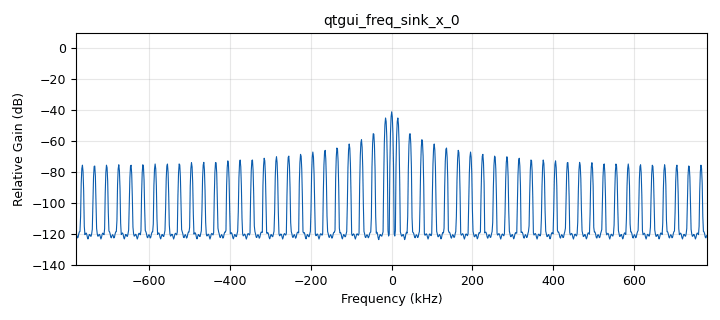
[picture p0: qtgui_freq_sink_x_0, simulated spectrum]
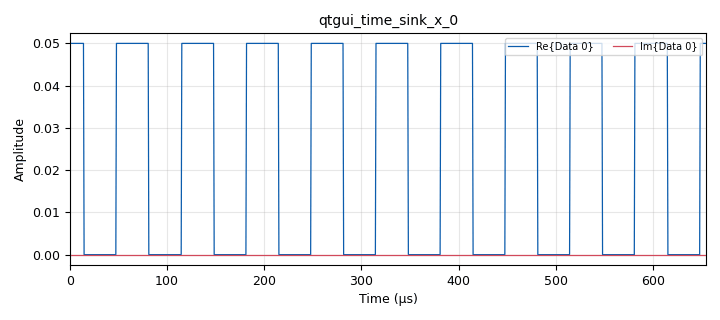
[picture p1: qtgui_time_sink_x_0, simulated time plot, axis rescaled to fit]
options:
  parameters:
    author: Barrios-Jimenez
    copyright: UIS
    generate_options: qt_gui
    id: Modulaciòn_ASK
    output_language: python
    title: Modulaciòn_ASK
  states: {}

blocks:
- name: Ac
  id: variable_qtgui_range
  parameters:
    label: amplitud de la portadora
    start: '0'
    step: '100e-3'
    stop: '2'
    value: '0.1'
  states: {}
- name: GTX
  id: variable_qtgui_range
  parameters:
    label: Ganancia de TX
    start: '0'
    step: '1'
    stop: '30'
    value: '0'
  states: {}
- name: fc
  id: variable_qtgui_range
  parameters:
    label: frecuencia de portadora
    start: 50e6
    step: 1e6
    stop: 2.2e9
    value: 50e6
  states: {}
- name: ka
  id: variable_qtgui_range
  parameters:
    label: Coeficiente ka
    start: '0'
    step: '100e-3'
    stop: '2'
    value: '1'
  states: {}
- name: samp_rate
  id: variable
  parameters:
    value: 1.562e6
  states: {}
- name: analog_sig_source_x_0
  id: analog_sig_source_x
  parameters:
    amp: '500e-3'
    freq: 15e3
    offset: '0'
    phase: '0'
    samp_rate: samp_rate
    type: float
    waveform: analog.GR_SQR_WAVE
  states: {}
- name: blocks_add_const_vxx_0
  id: blocks_add_const_vxx
  parameters:
    const: '0'
    type: float
  states: {}
- name: blocks_float_to_complex_0
  id: blocks_float_to_complex
  parameters: {}
  states: {}
- name: blocks_multiply_const_vxx_0
  id: blocks_multiply_const_vxx
  parameters:
    const: ka
    type: float
  states: {}
- name: blocks_multiply_const_vxx_0_0
  id: blocks_multiply_const_vxx
  parameters:
    const: Ac
    type: complex
  states: {}
- name: blocks_null_source_0
  id: blocks_null_source
  parameters:
    type: float
  states: {}
- name: qtgui_freq_sink_x_0
  id: qtgui_freq_sink_x
  parameters:
    bw: samp_rate
    fc: '0'
    fftsize: '1024'
    type: complex
  states: {}
- name: qtgui_time_sink_x_0
  id: qtgui_time_sink_x
  parameters:
    size: '1024'
    srate: samp_rate
    type: complex
  states: {}
- name: uhd_usrp_sink_0
  id: uhd_usrp_sink
  parameters:
    ant0: '"TX/RX"'
    center_freq0: fc
    gain0: GTX
    samp_rate: samp_rate
    sync: pc_clock
    type: fc32
  states: {}

connections:
- [analog_sig_source_x_0, '0', blocks_multiply_const_vxx_0, '0']
- [blocks_add_const_vxx_0, '0', blocks_float_to_complex_0, '0']
- [blocks_float_to_complex_0, '0', blocks_multiply_const_vxx_0_0, '0']
- [blocks_multiply_const_vxx_0, '0', blocks_add_const_vxx_0, '0']
- [blocks_multiply_const_vxx_0_0, '0', qtgui_freq_sink_x_0, '0']
- [blocks_multiply_const_vxx_0_0, '0', qtgui_time_sink_x_0, '0']
- [blocks_multiply_const_vxx_0_0, '0', uhd_usrp_sink_0, '0']
- [blocks_null_source_0, '0', blocks_float_to_complex_0, '1']

metadata:
  file_format: 1
